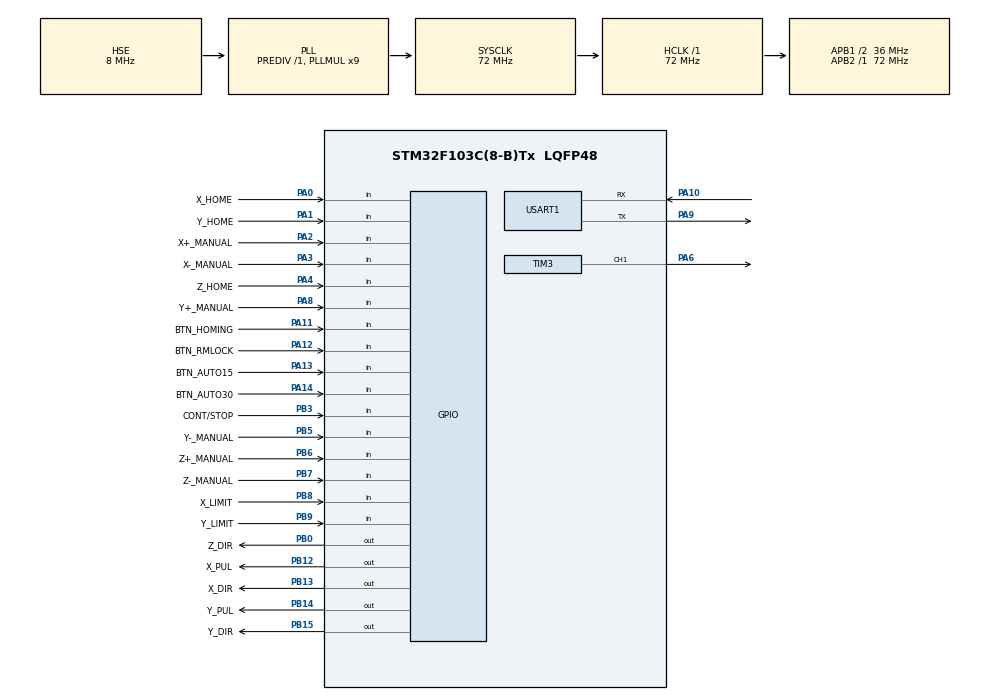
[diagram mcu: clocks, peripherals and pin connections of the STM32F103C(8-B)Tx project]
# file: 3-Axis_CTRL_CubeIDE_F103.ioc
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Mcu.Family=STM32F1
Mcu.Name=STM32F103C(8-B)Tx
Mcu.Package=LQFP48
NVIC.PriorityGroup=NVIC_PRIORITYGROUP_4
NVIC.TIM2_IRQn=true\:0\:0\:false\:false\:true\:true\:true\:true
NVIC.TIM3_IRQn=true\:0\:0\:false\:false\:true\:true\:true\:true
NVIC.USART1_IRQn=true\:0\:0\:false\:false\:true\:true\:true\:true
PA0-WKUP.GPIO_Label=X_HOME
PA0-WKUP.GPIO_PuPd=GPIO_PULLUP
PA0-WKUP.Signal=GPIO_Input
PA1.GPIO_Label=Y_HOME
PA1.GPIO_PuPd=GPIO_PULLUP
PA1.Signal=GPIO_Input
PA10.Mode=Asynchronous
PA10.Signal=USART1_RX
PA11.GPIO_Label=BTN_HOMING
PA11.GPIO_PuPd=GPIO_PULLUP
PA11.Signal=GPIO_Input
PA12.GPIO_Label=BTN_RMLOCK
PA12.GPIO_PuPd=GPIO_PULLUP
PA12.Signal=GPIO_Input
PA13.GPIO_Label=BTN_AUTO15
PA13.GPIO_PuPd=GPIO_PULLUP
PA13.Signal=GPIO_Input
PA14.GPIO_Label=BTN_AUTO30
PA14.GPIO_PuPd=GPIO_PULLUP
PA14.Signal=GPIO_Input
PA2.GPIO_Label=X+_MANUAL
PA2.GPIO_PuPd=GPIO_PULLUP
PA2.Signal=GPIO_Input
PA3.GPIO_Label=X-_MANUAL
PA3.GPIO_PuPd=GPIO_PULLUP
PA3.Signal=GPIO_Input
PA4.GPIO_Label=Z_HOME
PA4.Signal=GPIO_Input
PA6.Signal=S_TIM3_CH1
PA8.GPIO_Label=Y+_MANUAL
PA8.GPIO_PuPd=GPIO_PULLUP
PA8.Signal=GPIO_Input
PA9.Mode=Asynchronous
PA9.Signal=USART1_TX
PB0.GPIO_Label=Z_DIR
PB0.GPIO_Speed=GPIO_SPEED_FREQ_HIGH
PB0.Signal=GPIO_Output
PB12.GPIO_Label=X_PUL
PB12.GPIO_Speed=GPIO_SPEED_FREQ_HIGH
PB12.Signal=GPIO_Output
PB13.GPIO_Label=X_DIR
PB13.GPIO_Speed=GPIO_SPEED_FREQ_HIGH
PB13.Signal=GPIO_Output
PB14.GPIO_Label=Y_PUL
PB14.GPIO_Speed=GPIO_SPEED_FREQ_HIGH
PB14.Signal=GPIO_Output
PB15.GPIO_Label=Y_DIR
PB15.GPIO_Speed=GPIO_SPEED_FREQ_HIGH
PB15.Signal=GPIO_Output
PB3.GPIO_Label=CONT/STOP
PB3.GPIO_PuPd=GPIO_PULLUP
PB3.Signal=GPIO_Input
PB5.GPIO_Label=Y-_MANUAL
PB5.GPIO_PuPd=GPIO_PULLUP
PB5.Signal=GPIO_Input
PB6.GPIO_Label=Z+_MANUAL
PB6.GPIO_PuPd=GPIO_PULLUP
PB6.Signal=GPIO_Input
PB7.GPIO_Label=Z-_MANUAL
PB7.GPIO_PuPd=GPIO_PULLUP
PB7.Signal=GPIO_Input
PB8.GPIO_Label=X_LIMIT
PB8.GPIO_PuPd=GPIO_PULLUP
PB8.Signal=GPIO_Input
PB9.GPIO_Label=Y_LIMIT
PB9.GPIO_PuPd=GPIO_PULLUP
PB9.Signal=GPIO_Input
PD0-OSC_IN.Mode=HSE-External-Oscillator
PD0-OSC_IN.Signal=RCC_OSC_IN
PD1-OSC_OUT.Mode=HSE-External-Oscillator
PD1-OSC_OUT.Signal=RCC_OSC_OUT
ProjectManager.HeapSize=0x200
ProjectManager.StackSize=0x400
ProjectManager.TargetToolchain=STM32CubeIDE
RCC.AHBFreq_Value=72000000
RCC.APB1CLKDivider=RCC_HCLK_DIV2
RCC.APB1Freq_Value=36000000
RCC.APB1TimFreq_Value=72000000
RCC.APB2Freq_Value=72000000
RCC.APB2TimFreq_Value=72000000
RCC.HCLKFreq_Value=72000000
RCC.PLLMUL=RCC_PLL_MUL9
RCC.PLLSourceVirtual=RCC_PLLSOURCE_HSE
RCC.SYSCLKFreq_VALUE=72000000
RCC.SYSCLKSource=RCC_SYSCLKSOURCE_PLLCLK
RCC.USBFreq_Value=72000000
SH.S_TIM3_CH1.0=TIM3_CH1,PWM Generation1 CH1
TIM2.Period=999
TIM2.Prescaler=71
TIM3.Channel-PWM\ Generation1\ CH1=TIM_CHANNEL_1
TIM3.Period=999
TIM3.Prescaler=71
USART1.VirtualMode=VM_ASYNC
VP_SYS_VS_ND.Mode=No_Debug
VP_TIM2_VS_ClockSourceINT.Mode=Internal
VP_TIM3_VS_ClockSourceINT.Mode=Internal
board=custom

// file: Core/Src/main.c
/* USER CODE BEGIN Header */
/**
  * Main program body for STM32F103 (Blue Pill)
  */
/* USER CODE END Header */
#include "main.h"

/* USER CODE BEGIN Includes */
#include <stdlib.h>
#include <stdio.h>
#include <string.h>
#include <ctype.h>

#include "UART_parser.h"
#include "stepper_v3_F103.h"
/* USER CODE END Includes */

/* USER CODE BEGIN PTD */
typedef enum {
    MODE_NORMAL = 0,
    MODE_AUTO_1_5S,
    MODE_AUTO_3S
} SystemMode_t;
/* USER CODE END PTD */

/* USER CODE BEGIN PD */
#define BTN_HOMING_PORT  GPIOA
#define BTN_HOMING_PIN   GPIO_PIN_11

#define BTN_RMLOCK_PORT  GPIOA
#define BTN_RMLOCK_PIN   GPIO_PIN_12

#define BTN_AUTO15_PORT  GPIOA
#define BTN_AUTO15_PIN   GPIO_PIN_13

#define BTN_AUTO30_PORT  GPIOA
#define BTN_AUTO30_PIN   GPIO_PIN_14
/* USER CODE END PD */

TIM_HandleTypeDef htim2;
TIM_HandleTypeDef htim3;

UART_HandleTypeDef huart1;

/* USER CODE BEGIN PV */
Command_t my_cmd = {0};

volatile uint8_t is_paused = 0;
volatile uint8_t last_button_state = 1;

volatile SystemMode_t current_mode = MODE_NORMAL;
uint32_t auto_delay_ms = 0;
/* USER CODE END PV */

void SystemClock_Config(void);
static void MX_GPIO_Init(void);
static void MX_TIM2_Init(void);
static void MX_TIM3_Init(void);
static void MX_USART1_UART_Init(void);
/* USER CODE BEGIN PFP */
void Machine_Wait_Until_Done(void);
void Machine_Button_Scan(void);
/* USER CODE END PFP */

int main(void)
{

  /* MCU Configuration--------------------------------------------------------*/

  /* Reset of all peripherals, Initializes the Flash interface and the Systick. */
  HAL_Init();

  /* Configure the system clock */
  SystemClock_Config();

  /* Initialize all configured peripherals */
  MX_GPIO_Init();
  MX_TIM2_Init();
  MX_TIM3_Init();
  MX_USART1_UART_Init();
  /* USER CODE BEGIN 2 */
  char wlc[] = "System ready - STM32F103\n";
  HAL_UART_Transmit(&huart1, (uint8_t*)wlc, strlen(wlc), 100);

  UART_Queue_Init(&huart1);
  /* USER CODE END 2 */

  /* Infinite loop */
  while (1)
  {

    /* USER CODE BEGIN 3 */
    // 1. QUÉT NÚT BẤM
    Machine_Button_Scan();

    // 2. XỬ LÝ G-CODE TỪ RPi
    if (UART_Parse_Command(&my_cmd) == true && is_paused == 0)
    {
        char rcv_msg[] = "CMD received\n";
        HAL_UART_Transmit(&huart1, (uint8_t*)rcv_msg, strlen(rcv_msg), 100);

        for (int i = 0; my_cmd.str[i] != '\0'; i++) {
            my_cmd.str[i] = toupper((unsigned char)my_cmd.str[i]);
        }

        uint8_t is_last_cmd = (strstr(my_cmd.str, "LAST") != NULL) ? 1 : 0;

        if (strncmp(my_cmd.str, "RMLOCK", 6) == 0)
        {
            system_alarm = 0;
            HAL_UART_Transmit(&huart1, (uint8_t*)"Machine Unlocked. Proceed with caution!\n", 40, 100);
            my_cmd.is_ready = false;
        }
        else if (strncmp(my_cmd.str, "G0", 2) == 0)
        {
            Stepper_Homing();
            Stepper_Z_Homing_PWM();

            if (is_last_cmd) current_mode = MODE_NORMAL;

            HAL_UART_Transmit(&huart1, (uint8_t*)"OK: Homing done\n", 16, 100);
            my_cmd.is_ready = false;
        }
        else if (strncmp(my_cmd.str, "G1", 2) == 0)
        {
            float target_x = current_target_x_mm;
            float target_y = current_target_y_mm;
            float target_z = current_target_z_deg;
            uint8_t move_xy = 0, move_z = 0;

            char *ptr = my_cmd.str + 2;
            while (*ptr != '\0') {
                if (*ptr == 'X') { target_x = atof(ptr + 1); move_xy = 1; }
                else if (*ptr == 'Y') { target_y = atof(ptr + 1); move_xy = 1; }
                else if (*ptr == 'Z') { target_z = atof(ptr + 1); move_z = 1; }
                ptr++;
            }

            current_target_x_mm = target_x;
            current_target_y_mm = target_y;
            current_target_z_deg = target_z;

            if (move_z) Stepper_Z_GoTo_Degree(target_z);
            if (move_xy) Stepper_GoTo_mm(target_x, target_y);

            Machine_Wait_Until_Done();

            if (current_mode == MODE_AUTO_1_5S || current_mode == MODE_AUTO_3S)
            {
                HAL_UART_Transmit(&huart1, (uint8_t*)"SNAP\n", 5, 100);
                HAL_Delay(auto_delay_ms);

                if (is_last_cmd) {
                    current_mode = MODE_NORMAL;
                    HAL_UART_Transmit(&huart1, (uint8_t*)"FINISH\n", 7, 100);
                }
            }
            else
            {
                if (is_last_cmd) HAL_UART_Transmit(&huart1, (uint8_t*)"FINISH\n", 7, 100);
                else HAL_UART_Transmit(&huart1, (uint8_t*)"OK: Move done\n", 14, 100);
            }
            my_cmd.is_ready = false;
        }
        else if (strncmp(my_cmd.str, "G2", 2) == 0 || strncmp(my_cmd.str, "G3", 2) == 0)
        {
            uint8_t is_cw = (my_cmd.str[1] == '2');
            float target_x = current_target_x_mm;
            float target_y = current_target_y_mm;
            float offset_i = 0, offset_j = 0;
            uint8_t has_arc_data = 0;

            char *ptr = my_cmd.str + 2;
            while (*ptr != '\0') {
                if (*ptr == 'X') { target_x = atof(ptr + 1); }
                else if (*ptr == 'Y') { target_y = atof(ptr + 1); }
                else if (*ptr == 'I') { offset_i = atof(ptr + 1); has_arc_data = 1; }
                else if (*ptr == 'J') { offset_j = atof(ptr + 1); has_arc_data = 1; }
                ptr++;
            }

            if (has_arc_data) Stepper_Arc_mm(target_x, target_y, offset_i, offset_j, is_cw);
            Machine_Wait_Until_Done();

            if (is_last_cmd) {
                current_mode = MODE_NORMAL;
                HAL_UART_Transmit(&huart1, (uint8_t*)"FINISH\n", 7, 100);
            } else {
                HAL_UART_Transmit(&huart1, (uint8_t*)"ok: Arc Move done\n", 18, 100);
            }
            my_cmd.is_ready = false;
        }
        else
        {
            HAL_UART_Transmit(&huart1, (uint8_t*)"error: Unknown command\n", 23, 100);
            my_cmd.is_ready = false;
        }
    }

    // 3. JOGGING MANUAL
    if (current_mode == MODE_NORMAL && step_count == 0 && z_step_count == 0 && my_cmd.is_ready == false && is_paused == 0)
    {
        int16_t move_x = 0, move_y = 0;
        float move_z = 0;

        if (HAL_GPIO_ReadPin(GPIOA, GPIO_PIN_2) == GPIO_PIN_RESET) move_x = 40;
        else if (HAL_GPIO_ReadPin(GPIOA, GPIO_PIN_3) == GPIO_PIN_RESET) move_x = -40;

        if (HAL_GPIO_ReadPin(GPIOA, GPIO_PIN_8) == GPIO_PIN_RESET) move_y = 40;
        else if (HAL_GPIO_ReadPin(GPIOB, GPIO_PIN_5) == GPIO_PIN_RESET) move_y = -40;

        if (HAL_GPIO_ReadPin(GPIOB, GPIO_PIN_6) == GPIO_PIN_RESET) move_z = 1.0f;
        else if (HAL_GPIO_ReadPin(GPIOB, GPIO_PIN_7) == GPIO_PIN_RESET) move_z = -1.0f;

        if (move_x != 0 || move_y != 0)
        {
            Stepper_Run_2D(move_x, move_y);
            current_target_x_mm = (float)current_pos_x / STEPS_PER_MM_X;
            current_target_y_mm = (float)current_pos_y / STEPS_PER_MM_Y;
        }

        if (move_z != 0)
        {
            float new_target_z = current_target_z_deg + move_z;
            Stepper_Z_GoTo_Degree(new_target_z);
            current_target_z_deg = new_target_z;
        }
    }
  }
  /* USER CODE END 3 */
}

void SystemClock_Config(void)
{
  RCC_OscInitTypeDef RCC_OscInitStruct = {0};
  RCC_ClkInitTypeDef RCC_ClkInitStruct = {0};

  /** Initializes the RCC Oscillators according to the specified parameters
  * in the RCC_OscInitTypeDef structure.
  */
  RCC_OscInitStruct.OscillatorType = RCC_OSCILLATORTYPE_HSE;
  RCC_OscInitStruct.HSEState = RCC_HSE_ON;
  RCC_OscInitStruct.HSEPredivValue = RCC_HSE_PREDIV_DIV1;
  RCC_OscInitStruct.HSIState = RCC_HSI_ON;
  RCC_OscInitStruct.PLL.PLLState = RCC_PLL_ON;
  RCC_OscInitStruct.PLL.PLLSource = RCC_PLLSOURCE_HSE;
  RCC_OscInitStruct.PLL.PLLMUL = RCC_PLL_MUL9;
  if (HAL_RCC_OscConfig(&RCC_OscInitStruct) != HAL_OK)
  {
    Error_Handler();
  }

  /** Initializes the CPU, AHB and APB buses clocks
  */
  RCC_ClkInitStruct.ClockType = RCC_CLOCKTYPE_HCLK|RCC_CLOCKTYPE_SYSCLK
                              |RCC_CLOCKTYPE_PCLK1|RCC_CLOCKTYPE_PCLK2;
  RCC_ClkInitStruct.SYSCLKSource = RCC_SYSCLKSOURCE_PLLCLK;
  RCC_ClkInitStruct.AHBCLKDivider = RCC_SYSCLK_DIV1;
  RCC_ClkInitStruct.APB1CLKDivider = RCC_HCLK_DIV2;
  RCC_ClkInitStruct.APB2CLKDivider = RCC_HCLK_DIV1;

  if (HAL_RCC_ClockConfig(&RCC_ClkInitStruct, FLASH_LATENCY_2) != HAL_OK)
  {
    Error_Handler();
  }
}

static void MX_TIM2_Init(void)
{

  TIM_ClockConfigTypeDef sClockSourceConfig = {0};
  TIM_MasterConfigTypeDef sMasterConfig = {0};

  htim2.Instance = TIM2;
  htim2.Init.Prescaler = 71;
  htim2.Init.CounterMode = TIM_COUNTERMODE_UP;
  htim2.Init.Period = 999;
  htim2.Init.ClockDivision = TIM_CLOCKDIVISION_DIV1;
  htim2.Init.AutoReloadPreload = TIM_AUTORELOAD_PRELOAD_ENABLE;
  if (HAL_TIM_Base_Init(&htim2) != HAL_OK)
  {
    Error_Handler();
  }
  sClockSourceConfig.ClockSource = TIM_CLOCKSOURCE_INTERNAL;
  if (HAL_TIM_ConfigClockSource(&htim2, &sClockSourceConfig) != HAL_OK)
  {
    Error_Handler();
  }
  sMasterConfig.MasterOutputTrigger = TIM_TRGO_RESET;
  sMasterConfig.MasterSlaveMode = TIM_MASTERSLAVEMODE_DISABLE;
  if (HAL_TIMEx_MasterConfigSynchronization(&htim2, &sMasterConfig) != HAL_OK)
  {
    Error_Handler();
  }

}

static void MX_TIM3_Init(void)
{

  TIM_ClockConfigTypeDef sClockSourceConfig = {0};
  TIM_MasterConfigTypeDef sMasterConfig = {0};
  TIM_OC_InitTypeDef sConfigOC = {0};

  htim3.Instance = TIM3;
  htim3.Init.Prescaler = 71;
  htim3.Init.CounterMode = TIM_COUNTERMODE_UP;
  htim3.Init.Period = 999;
  htim3.Init.ClockDivision = TIM_CLOCKDIVISION_DIV1;
  htim3.Init.AutoReloadPreload = TIM_AUTORELOAD_PRELOAD_ENABLE;
  if (HAL_TIM_Base_Init(&htim3) != HAL_OK)
  {
    Error_Handler();
  }
  sClockSourceConfig.ClockSource = TIM_CLOCKSOURCE_INTERNAL;
  if (HAL_TIM_ConfigClockSource(&htim3, &sClockSourceConfig) != HAL_OK)
  {
    Error_Handler();
  }
  if (HAL_TIM_PWM_Init(&htim3) != HAL_OK)
  {
    Error_Handler();
  }
  sMasterConfig.MasterOutputTrigger = TIM_TRGO_RESET;
  sMasterConfig.MasterSlaveMode = TIM_MASTERSLAVEMODE_DISABLE;
  if (HAL_TIMEx_MasterConfigSynchronization(&htim3, &sMasterConfig) != HAL_OK)
  {
    Error_Handler();
  }
  sConfigOC.OCMode = TIM_OCMODE_PWM1;
  sConfigOC.Pulse = 0;
  sConfigOC.OCPolarity = TIM_OCPOLARITY_HIGH;
  sConfigOC.OCFastMode = TIM_OCFAST_DISABLE;
  if (HAL_TIM_PWM_ConfigChannel(&htim3, &sConfigOC, TIM_CHANNEL_1) != HAL_OK)
  {
    Error_Handler();
  }
  HAL_TIM_MspPostInit(&htim3);

}

static void MX_USART1_UART_Init(void)
{

  huart1.Instance = USART1;
  huart1.Init.BaudRate = 115200;
  huart1.Init.WordLength = UART_WORDLENGTH_8B;
  huart1.Init.StopBits = UART_STOPBITS_1;
  huart1.Init.Parity = UART_PARITY_NONE;
  huart1.Init.Mode = UART_MODE_TX_RX;
  huart1.Init.HwFlowCtl = UART_HWCONTROL_NONE;
  huart1.Init.OverSampling = UART_OVERSAMPLING_16;
  if (HAL_UART_Init(&huart1) != HAL_OK)
  {
    Error_Handler();
  }

}

static void MX_GPIO_Init(void)
{
  GPIO_InitTypeDef GPIO_InitStruct = {0};

  /* GPIO Ports Clock Enable */
  __HAL_RCC_GPIOD_CLK_ENABLE();
  __HAL_RCC_GPIOA_CLK_ENABLE();
  __HAL_RCC_GPIOB_CLK_ENABLE();

  /*Configure GPIO pin Output Level */
  HAL_GPIO_WritePin(GPIOB, Z_DIR_Pin|X_PUL_Pin|X_DIR_Pin|Y_PUL_Pin
                          |Y_DIR_Pin, GPIO_PIN_RESET);

  /*Configure GPIO pins : X_HOME_Pin Y_HOME_Pin X__MANUAL_Pin X__MANUALA3_Pin
                           Y__MANUAL_Pin BTN_HOMING_Pin BTN_RMLOCK_Pin BTN_AUTO15_Pin
                           BTN_AUTO30_Pin */
  GPIO_InitStruct.Pin = X_HOME_Pin|Y_HOME_Pin|X__MANUAL_Pin|X__MANUALA3_Pin
                          |Y__MANUAL_Pin|BTN_HOMING_Pin|BTN_RMLOCK_Pin|BTN_AUTO15_Pin
                          |BTN_AUTO30_Pin;
  GPIO_InitStruct.Mode = GPIO_MODE_INPUT;
  GPIO_InitStruct.Pull = GPIO_PULLUP;
  HAL_GPIO_Init(GPIOA, &GPIO_InitStruct);

  /*Configure GPIO pin : Z_HOME_Pin */
  GPIO_InitStruct.Pin = Z_HOME_Pin;
  GPIO_InitStruct.Mode = GPIO_MODE_INPUT;
  GPIO_InitStruct.Pull = GPIO_NOPULL;
  HAL_GPIO_Init(Z_HOME_GPIO_Port, &GPIO_InitStruct);

  /*Configure GPIO pins : Z_DIR_Pin X_PUL_Pin X_DIR_Pin Y_PUL_Pin
                           Y_DIR_Pin */
  GPIO_InitStruct.Pin = Z_DIR_Pin|X_PUL_Pin|X_DIR_Pin|Y_PUL_Pin
                          |Y_DIR_Pin;
  GPIO_InitStruct.Mode = GPIO_MODE_OUTPUT_PP;
  GPIO_InitStruct.Pull = GPIO_NOPULL;
  GPIO_InitStruct.Speed = GPIO_SPEED_FREQ_HIGH;
  HAL_GPIO_Init(GPIOB, &GPIO_InitStruct);

  /*Configure GPIO pins : CONT_STOP_Pin Y__MANUALB5_Pin Z__MANUAL_Pin Z__MANUALB7_Pin
                           X_LIMIT_Pin Y_LIMIT_Pin */
  GPIO_InitStruct.Pin = CONT_STOP_Pin|Y__MANUALB5_Pin|Z__MANUAL_Pin|Z__MANUALB7_Pin
                          |X_LIMIT_Pin|Y_LIMIT_Pin;
  GPIO_InitStruct.Mode = GPIO_MODE_INPUT;
  GPIO_InitStruct.Pull = GPIO_PULLUP;
  HAL_GPIO_Init(GPIOB, &GPIO_InitStruct);

}

/* USER CODE BEGIN 4 */
void Machine_Wait_Until_Done(void)
{
    while (z_step_count > 0 || step_count > 0)
    {
        uint8_t current_button_state = HAL_GPIO_ReadPin(GPIOB, GPIO_PIN_3);

        if (system_alarm == 1) break;

        if (current_button_state == GPIO_PIN_RESET && last_button_state == GPIO_PIN_SET)
        {
            HAL_Delay(50);
            if (HAL_GPIO_ReadPin(GPIOB, GPIO_PIN_3) == GPIO_PIN_RESET)
            {
                if (is_paused == 0) {
                    HAL_TIM_Base_Stop_IT(&htim2);
                    HAL_TIM_PWM_Stop_IT(&htim3, TIM_CHANNEL_1);
                    is_paused = 1;
                    HAL_UART_Transmit(&huart1, (uint8_t*)"EVENT: Machine Paused\n", 22, 100);
                } else {
                    is_paused = 0;
                    if (step_count > 0) HAL_TIM_Base_Start_IT(&htim2);
                    if (z_step_count > 0) HAL_TIM_PWM_Start_IT(&htim3, TIM_CHANNEL_1);
                    HAL_UART_Transmit(&huart1, (uint8_t*)"EVENT: Machine Resumed\n", 23, 100);
                }
            }
        }
        last_button_state = current_button_state;

        while (is_paused == 1)
        {
            if (HAL_GPIO_ReadPin(GPIOB, GPIO_PIN_3) == GPIO_PIN_RESET)
            {
                HAL_Delay(50);
                if (HAL_GPIO_ReadPin(GPIOB, GPIO_PIN_3) == GPIO_PIN_RESET)
                {
                    is_paused = 0;
                    if (step_count > 0) HAL_TIM_Base_Start_IT(&htim2);
                    if (z_step_count > 0) HAL_TIM_PWM_Start_IT(&htim3, TIM_CHANNEL_1);
                    HAL_UART_Transmit(&huart1, (uint8_t*)"EVENT: Machine Resumed\n", 23, 100);
                    HAL_Delay(200);
                }
            }
        }
    }
}

void Machine_Button_Scan(void) {
    if (HAL_GPIO_ReadPin(BTN_HOMING_PORT, BTN_HOMING_PIN) == GPIO_PIN_RESET) {
        HAL_Delay(20);
        if (HAL_GPIO_ReadPin(BTN_HOMING_PORT, BTN_HOMING_PIN) == GPIO_PIN_RESET) {
            Stepper_Homing();
            Stepper_Z_Homing_PWM();
            while (HAL_GPIO_ReadPin(BTN_HOMING_PORT, BTN_HOMING_PIN) == GPIO_PIN_RESET);
        }
    }

    if (HAL_GPIO_ReadPin(BTN_RMLOCK_PORT, BTN_RMLOCK_PIN) == GPIO_PIN_RESET) {
        HAL_Delay(20);
        if (HAL_GPIO_ReadPin(BTN_RMLOCK_PORT, BTN_RMLOCK_PIN) == GPIO_PIN_RESET) {
            system_alarm = 0;
            HAL_UART_Transmit(&huart1, (uint8_t*)"Machine Unlocked. Proceed with caution!\n", 40, 100);
            while (HAL_GPIO_ReadPin(BTN_RMLOCK_PORT, BTN_RMLOCK_PIN) == GPIO_PIN_RESET);
        }
    }

    if (HAL_GPIO_ReadPin(BTN_AUTO15_PORT, BTN_AUTO15_PIN) == GPIO_PIN_RESET) {
        HAL_Delay(20);
        if (HAL_GPIO_ReadPin(BTN_AUTO15_PORT, BTN_AUTO15_PIN) == GPIO_PIN_RESET) {
            current_mode = MODE_AUTO_1_5S;
            auto_delay_ms = 1500;
            HAL_UART_Transmit(&huart1, (uint8_t*)"REQ:AUTO_1.5S\n", 14, 100);
            while (HAL_GPIO_ReadPin(BTN_AUTO15_PORT, BTN_AUTO15_PIN) == GPIO_PIN_RESET);
        }
    }

    if (HAL_GPIO_ReadPin(BTN_AUTO30_PORT, BTN_AUTO30_PIN) == GPIO_PIN_RESET) {
        HAL_Delay(20);
        if (HAL_GPIO_ReadPin(BTN_AUTO30_PORT, BTN_AUTO30_PIN) == GPIO_PIN_RESET) {
            current_mode = MODE_AUTO_3S;
            auto_delay_ms = 3000;
            HAL_UART_Transmit(&huart1, (uint8_t*)"REQ:AUTO_3S\n", 12, 100);
            while (HAL_GPIO_ReadPin(BTN_AUTO30_PORT, BTN_AUTO30_PIN) == GPIO_PIN_RESET);
        }
    }
}
/* USER CODE END 4 */

void Error_Handler(void)
{
  __disable_irq();
  while (1)
  {
  }
}
